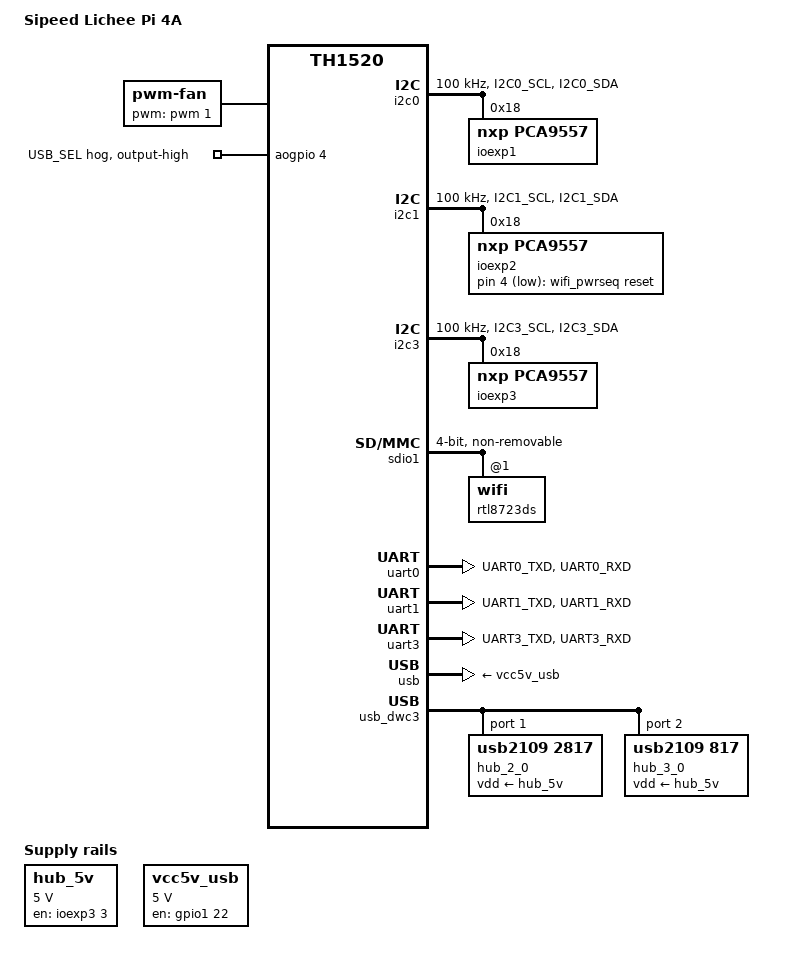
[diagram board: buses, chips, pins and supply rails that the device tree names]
// SPDX-License-Identifier: (GPL-2.0 OR MIT)
/*
 * Copyright (C) 2023 Jisheng Zhang <jszhang@kernel.org>
 */

#include "th1520-lichee-module-4a.dtsi"
#include <dt-bindings/gpio/gpio.h>

/ {
	model = "Sipeed Lichee Pi 4A";
	compatible = "sipeed,lichee-pi-4a", "sipeed,lichee-module-4a", "thead,th1520";

	aliases {
		gpio0 = &gpio0;
		gpio1 = &gpio1;
		gpio2 = &gpio2;
		gpio3 = &gpio3;
		gpio4 = &gpio4;
		gpio5 = &aogpio;
		i2c0 = &i2c0;
		i2c1 = &i2c1;
		i2c3 = &i2c3;
		serial0 = &uart0;
		serial1 = &uart1;
		serial2 = &uart2;
		serial3 = &uart3;
		serial4 = &uart4;
		serial5 = &uart5;
		spi0 = &spi0;
	};

	chosen {
		stdout-path = "serial0:115200n8";
	};

	fan: pwm-fan {
		pinctrl-names = "default";
		pinctrl-0 = <&fan_pins>;
		compatible = "pwm-fan";
		#cooling-cells = <2>;
		pwms = <&pwm 1 10000000 0>;
		cooling-levels = <0 66 196 255>;
	};

	hub_5v: regulator-hub-5v {
		compatible = "regulator-fixed";
		regulator-name = "HUB_5V";
		regulator-min-microvolt = <5000000>;
		regulator-max-microvolt = <5000000>;
		regulator-always-on;
		enable-active-high;
		gpio = <&ioexp3 3 GPIO_ACTIVE_HIGH>;
	};

	vcc5v_usb: regulator-vcc5v-usb {
		compatible = "regulator-fixed";
		regulator-name = "VCC5V_USB";
		regulator-min-microvolt = <5000000>;
		regulator-max-microvolt = <5000000>;
		enable-active-high;
		gpio = <&gpio1 22 GPIO_ACTIVE_HIGH>;
		pinctrl-names = "default";
		pinctrl-0 = <&vcc5v_usb_pins>;
	};

	thermal-zones {
		cpu-thermal {
			polling-delay = <1000>;
			polling-delay-passive = <1000>;
			thermal-sensors = <&pvt 0>;

			trips {
				trip_active0: active-0 {
					temperature = <39000>;
					hysteresis = <5000>;
					type = "active";
				};

				trip_active1: active-1 {
					temperature = <50000>;
					hysteresis = <5000>;
					type = "active";
				};

				trip_active2: active-2 {
					temperature = <60000>;
					hysteresis = <5000>;
					type = "active";
				};
			};

			cooling-maps {
				map-active-0 {
					cooling-device = <&fan 1 1>;
					trip = <&trip_active0>;
				};

				map-active-1 {
					cooling-device = <&fan 2 2>;
					trip = <&trip_active1>;
				};

				map-active-2 {
					cooling-device = <&fan 3 3>;
					trip = <&trip_active2>;
				};
			};
		};
	};

	wifi_pwrseq: wifi-pwrseq {
		compatible = "mmc-pwrseq-simple";
		reset-gpios = <&ioexp2 4 GPIO_ACTIVE_LOW>;
	};
};

&aogpio {
	usb-sel-hog {
		gpio-hog;
		gpios = <4 GPIO_ACTIVE_HIGH>;
		output-high;
		line-name = "USB_SEL";
	};
};

&i2c0 {
	pinctrl-names = "default";
	pinctrl-0 = <&i2c0_pins>;
	clock-frequency = <100000>;
	i2c-sda-hold-time-ns = <300>;
	i2c-sda-falling-time-ns = <510>;
	i2c-scl-falling-time-ns = <510>;
	status = "okay";

	ioexp1: gpio@18 {
		compatible = "nxp,pca9557";
		reg = <0x18>;
		gpio-controller;
		#gpio-cells = <2>;
		gpio-line-names = "cam0_dvdd12",
				  "cam0_avdd28",
				  "cam0_dovdd18";
	};
};

&i2c1 {
	pinctrl-names = "default";
	pinctrl-0 = <&i2c1_pins>;
	clock-frequency = <100000>;
	i2c-sda-hold-time-ns = <300>;
	i2c-sda-falling-time-ns = <510>;
	i2c-scl-falling-time-ns = <510>;
	status = "okay";

	ioexp2: gpio@18 {
		compatible = "nxp,pca9557";
		reg = <0x18>;
		gpio-controller;
		#gpio-cells = <2>;
		gpio-line-names = "",
				  "cam0_reset",
				  "cam1_reset",
				  "cam2_reset",
				  "wl_host_wake",
				  "bt_resetn",
				  "",
				  "bt_host_wake";
	};
};

&i2c3 {
	pinctrl-names = "default";
	pinctrl-0 = <&i2c3_pins>;
	clock-frequency = <100000>;
	i2c-sda-hold-time-ns = <300>;
	i2c-sda-falling-time-ns = <510>;
	i2c-scl-falling-time-ns = <510>;
	status = "okay";

	ioexp3: gpio@18 {
		compatible = "nxp,pca9557";
		reg = <0x18>;
		gpio-controller;
		#gpio-cells = <2>;
		gpio-line-names = "tp0_rst",
				  "",
				  "",
				  "vcc5v_usb",
				  "vdd28_tp0",
				  "vdd33_lcd0",
				  "vdd18_lcd0",
				  "lcd0_reset";
	};
};

&padctrl0_apsys {
	fan_pins: fan-0 {
		pwm1-pins {
			pins = "GPIO3_3"; /* PWM1 */
			function = "pwm";
			bias-disable;
			drive-strength = <25>;
			input-disable;
			input-schmitt-disable;
			slew-rate = <0>;
		};
	};

	i2c3_pins: i2c3-0 {
		i2c-pins {
			pins = "I2C3_SCL", "I2C3_SDA";
			function = "i2c";
			bias-disable; /* external pull-up */
			drive-strength = <7>;
			input-enable;
			input-schmitt-enable;
			slew-rate = <0>;
		};
	};

	uart0_pins: uart0-0 {
		tx-pins {
			pins = "UART0_TXD";
			function = "uart";
			bias-disable;
			drive-strength = <3>;
			input-disable;
			input-schmitt-disable;
			slew-rate = <0>;
		};

		rx-pins {
			pins = "UART0_RXD";
			function = "uart";
			bias-disable;
			drive-strength = <1>;
			input-enable;
			input-schmitt-enable;
			slew-rate = <0>;
		};
	};
};

&padctrl1_apsys {
	i2c0_pins: i2c0-0 {
		i2c-pins {
			pins = "I2C0_SCL", "I2C0_SDA";
			function = "i2c";
			bias-disable; /* external pull-up */
			drive-strength = <7>;
			input-enable;
			input-schmitt-enable;
			slew-rate = <0>;
		};
	};

	i2c1_pins: i2c1-0 {
		i2c-pins {
			pins = "I2C1_SCL", "I2C1_SDA";
			function = "i2c";
			bias-disable; /* external pull-up */
			drive-strength = <7>;
			input-enable;
			input-schmitt-enable;
			slew-rate = <0>;
		};
	};

	uart1_pins: uart1-0 {
		tx-pins {
			pins = "UART1_TXD";
			function = "uart";
			bias-disable;
			drive-strength = <3>;
			input-disable;
			input-schmitt-disable;
			slew-rate = <0>;
		};

		rx-pins {
			pins = "UART1_RXD";
			function = "uart";
			bias-disable;
			drive-strength = <1>;
			input-enable;
			input-schmitt-enable;
			slew-rate = <0>;
		};
	};

	uart3_pins: uart3-0 {
		tx-pins {
			pins = "UART3_TXD";
			function = "uart";
			bias-disable;
			drive-strength = <3>;
			input-disable;
			input-schmitt-disable;
			slew-rate = <0>;
		};

		rx-pins {
			pins = "UART3_RXD";
			function = "uart";
			bias-disable;
			drive-strength = <1>;
			input-enable;
			input-schmitt-enable;
			slew-rate = <0>;
		};
	};

	vcc5v_usb_pins: vcc5v-usb-0 {
		enable-pins {
			pins = "GPIO1_22";
			bias-disable;
			drive-strength = <3>;
			input-disable;
			input-schmitt-disable;
			slew-rate = <0>;
		};
	};
};

&sdio1 {
	#address-cells = <1>;
	#size-cells = <0>;
	bus-width = <4>;
	cap-sd-highspeed;
	max-frequency = <100000000>;
	mmc-pwrseq = <&wifi_pwrseq>;
	non-removable;
	status = "okay";

	rtl8723ds: wifi@1 {
		reg = <1>;
	};
};

&uart0 {
	pinctrl-names = "default";
	pinctrl-0 = <&uart0_pins>;
	status = "okay";
};

&uart1 {
	pinctrl-names = "default";
	pinctrl-0 = <&uart1_pins>;
	status = "okay";
};

&uart3 {
	pinctrl-names = "default";
	pinctrl-0 = <&uart3_pins>;
	status = "okay";
};

&usb {
	status = "okay";
	vbus-supply = <&vcc5v_usb>;
};

&usb_dwc3 {
	status = "okay";
	#address-cells = <1>;
	#size-cells = <0>;

	hub_2_0: hub@1 {
		compatible = "usb2109,2817";
		reg = <1>;
		peer-hub = <&hub_3_0>;
		vdd-supply = <&hub_5v>;
	};

	hub_3_0: hub@2 {
		compatible = "usb2109,817";
		reg = <2>;
		peer-hub = <&hub_2_0>;
		vdd-supply = <&hub_5v>;
	};
};
